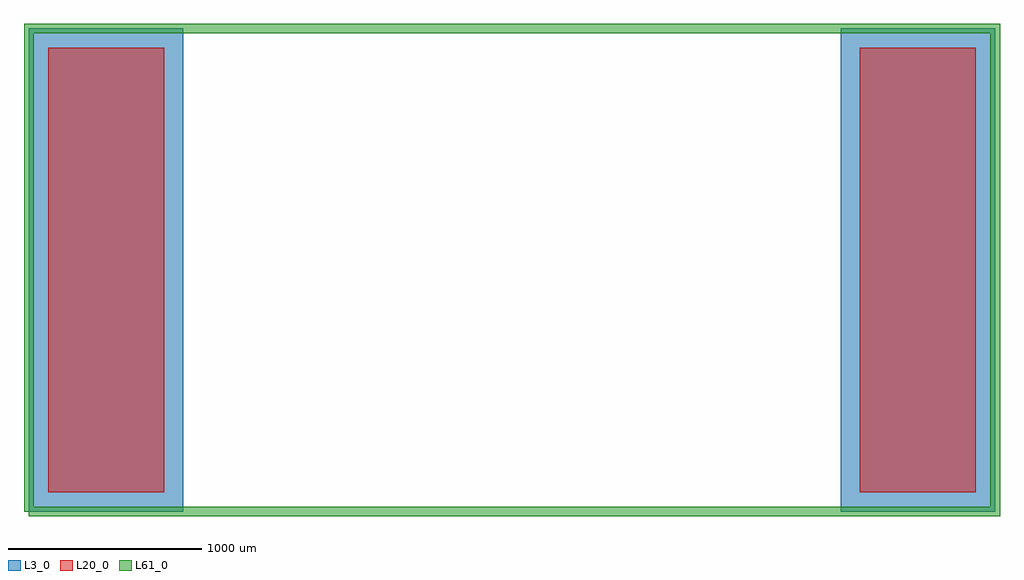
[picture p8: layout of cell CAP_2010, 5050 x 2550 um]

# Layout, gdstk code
import gdstk
lib = gdstk.Library(unit=1e-6, precision=1e-09)
def R(c, l, rs):  # rectangles x0, y0, x1, y1
    for r in rs: c.add(gdstk.rectangle(r[:2], r[2:], *l))
L3_0 = (3, 0)
L20_0 = (20, 0)
L61_0 = (61, 0)

cap_2010 = lib.new_cell('CAP_2010')
R(cap_2010, L3_0, [(0,0,800,2500), (4200,0,5000,2500)])
R(cap_2010, L20_0, [(100,100,700,2400), (4300,100,4900,2400)])
cap_2010.add(gdstk.FlexPath([(0,0),(5000,0),(5000,2500),(0,2500),(0,0)], 50, ends="flush", simple_path=True, layer=61, datatype=0))  # L61_0

lib.write_gds('CAP_2010.gds')
